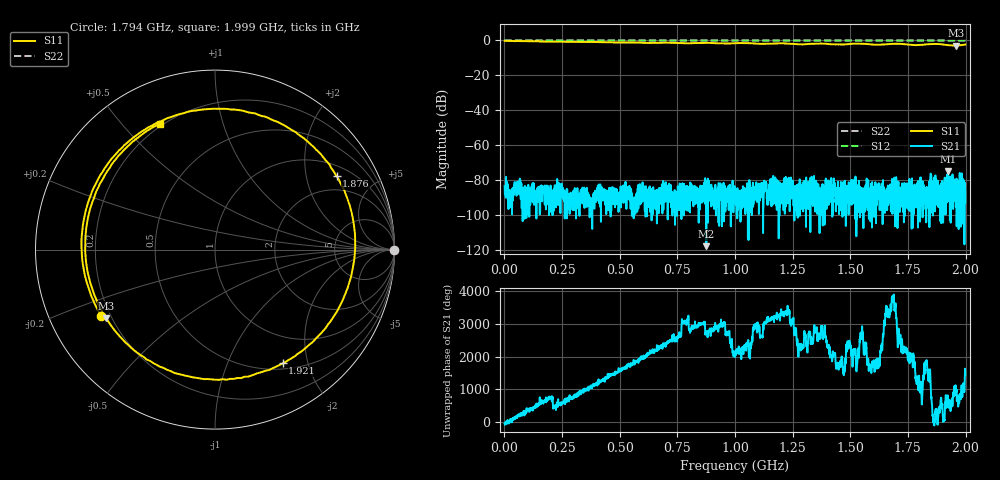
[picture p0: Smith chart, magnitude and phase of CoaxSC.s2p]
! Anritsu VNA Master:  Model: MS2025B
! SN:  1642059
! /bd0/PROE/TP1/CoaxSC.s2p
! Existing Calibration Information:
! TYPE:  Current Settings,  Active Cal Settings
! TIME:  04/16/2024 09:35:40 AM,  03/12/2018 11:45:53 AM
! INTERNAL TEMP:  43.5 C,  40.8 C
! # POINTS:  2857,  4001
! START FREQ:  1.000 MHz,  1.000 MHz
! STOP FREQ:  1.999 486 GHz,  2.800 GHz
! SOURCE POWER:  Default,  Default
! IFBW:  1 kHz,  1 kHz
! AVG FACTOR:  1 ,  1
! REF PLANE 1:  0 mm,  0 mm
! REF PLANE 2:  0 mm,  0 mm
! CAL TYPE:  1P2P S11,S21,  1P2P S11,S21
! CAL METHOD:  SOLT,  SOLT
! CAL LINE TYPE:  Coax,  Coax
! DUT PORT 1:  ,
! DUT PORT 2:  N-Conn(M),  N-Conn(M)
! CAL STATUS:  OK: Accuracy High,  --
# GHZ S MA R 50.0
! FREQ.GHZ  S11M  S11A  S21M  S21A  S12M  S12A  S22M  S22A
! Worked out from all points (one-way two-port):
!   2857 points, 1 MHz to 1.999 GHz, reference 50 ohm
!   highest |S21| = -74.98 dB at 1.925 GHz (marker M1); lowest = -117.8 dB at 875.7 MHz (marker M2)
!   lowest |S11| = -2.9 dB at 1.958 GHz (marker M3), VSWR 6.06, Z = 8.91 - j14 ohm
!   |S11| at or under -10 dB: nowhere
!   |S22| runs from 0.0 to 0.0 dB; largest |S21 - S12| = 1
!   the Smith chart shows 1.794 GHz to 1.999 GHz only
!   S11 on the Smith chart (normalised r, x): 1.794 GHz: 0.16, -0.26; 1.876 GHz: 1.37, +3.01; 1.921 GHz: 0.58, -1.61; 1.999 GHz: 0.19, +0.64
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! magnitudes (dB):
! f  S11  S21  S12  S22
! 1 MHz  -0.2  -83.4  0.0  0.0
! 334.1 MHz  -0.8  -86.1  0.0  0.0
! 667.2 MHz  -1.4  -91.0  0.0  0.0
! 875.7 MHz  -1.4  -117.8  0.0  0.0
! 1 GHz  -1.5  -86.2  0.0  0.0
! 1.111 GHz  -1.9  -81.8  0.0  0.0
! 1.202 GHz  -1.6  -93.3  0.0  0.0
! 1.289 GHz  -2.3  -91.3  0.0  0.0
! 1.333 GHz  -1.9  -85.0  0.0  0.0
! 1.466 GHz  -2.3  -100.9  0.0  0.0
! 1.528 GHz  -1.8  -96.5  0.0  0.0
! 1.615 GHz  -2.4  -89.3  0.0  0.0
! 1.666 GHz  -2.1  -84.9  0.0  0.0
! 1.711 GHz  -1.9  -87.1  0.0  0.0
! 1.794 GHz  -2.7  -107.1  0.0  0.0
! 1.876 GHz  -2.0  -94.1  0.0  0.0
! 1.91 GHz  -2.4  -78.5  0.0  0.0
! 1.921 GHz  -2.6  -89.4  0.0  0.0
! 1.925 GHz  -2.7  -75.0  0.0  0.0
! 1.958 GHz  -2.9  -95.4  0.0  0.0
! 1.985 GHz  -2.6  -81.4  0.0  0.0
! 1.999 GHz  -2.3  -92.7  0.0  0.0
